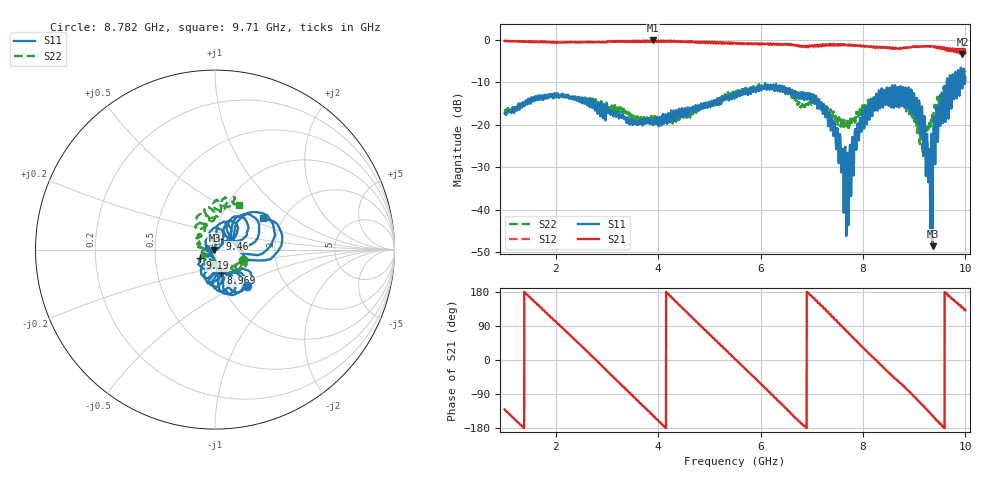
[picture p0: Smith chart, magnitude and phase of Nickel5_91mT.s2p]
#  HZ  S  RI  R  50.0
! Rohde & Schwarz ZVL13 2Ports - Version 3.31 - 1303.6509k13 SN: 101088
! Date: 2023-03-09 14:13:04
! Data & Calibration Information:
! Trc4:S11(TOSM) Trc2:S21(TOSM) Trc3:S12(TOSM) Trc5:S22(TOSM)
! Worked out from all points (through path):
!   4000 points, 1 GHz to 10 GHz, reference 50 ohm
!   highest |S21| = -0.14 dB at 3.892 GHz (marker M1); lowest = -3.3 dB at 9.941 GHz (marker M2)
!   group delay of S21, straight-line fit = 365 ps
!   lowest |S11| = -48.6 dB at 9.359 GHz (marker M3), VSWR 1.01, Z = 49.7 - j0.19 ohm
!   |S11| at or under -10 dB: start of sweep to 9.636 GHz; 9.652849 GHz to 9.687337 GHz (34.49 MHz wide, 0.357 % of centre); 9.70993 GHz to 9.740366 GHz (30.44 MHz wide, 0.313 % of centre)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
!   |S22| runs from -26.7 to -7.2 dB; largest |S21 - S12| = 0.074
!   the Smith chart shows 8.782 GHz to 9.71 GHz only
!   S11 on the Smith chart (normalised r, x): 8.782 GHz: 1.30, -0.56; 8.969 GHz: 1.03, -0.28; 9.19 GHz: 0.84, -0.08; 9.46 GHz: 1.04, +0.12; 9.71 GHz: 1.58, +0.62
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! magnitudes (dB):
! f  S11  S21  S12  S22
! 1 GHz  -17.3  -0.2  -0.2  -16.8
! 1.695 GHz  -14.1  -0.6  -0.4  -13.7
! 2.501 GHz  -14.5  -0.5  -0.6  -13.7
! 3.892 GHz  -19.1  -0.1  -0.2  -19.2
! 4 GHz  -19.4  -0.2  -0.2  -19.2
! 5.501 GHz  -13.1  -0.8  -0.9  -12.6
! 6.334 GHz  -11.9  -1.1  -1.0  -11.2
! 7 GHz  -14.4  -1.3  -1.4  -15.3
! 7.421 GHz  -22.3  -1.2  -1.0  -17.0
! 7.695 GHz  -26.6  -1.2  -1.2  -19.3
! 7.871 GHz  -25.9  -1.3  -1.3  -17.1
! 8.02 GHz  -20.7  -1.5  -1.5  -16.5
! 8.501 GHz  -14.5  -1.9  -2.0  -13.2
! 8.782 GHz  -11.4  -1.9  -1.8  -15.6
! 8.969 GHz  -17.3  -1.7  -1.6  -17.6
! 9.19 GHz  -20.1  -1.6  -1.5  -21.1
! 9.318 GHz  -32.5  -1.5  -1.6  -20.1
! 9.359 GHz  -48.6  -1.5  -1.6  -18.8
! 9.46 GHz  -23.8  -1.7  -1.8  -13.6
! 9.71 GHz  -9.9  -2.3  -2.3  -11.0
! 9.941 GHz  -11.0  -3.3  -2.6  -7.9
! 10 GHz  -8.9  -3.1  -2.6  -7.2
